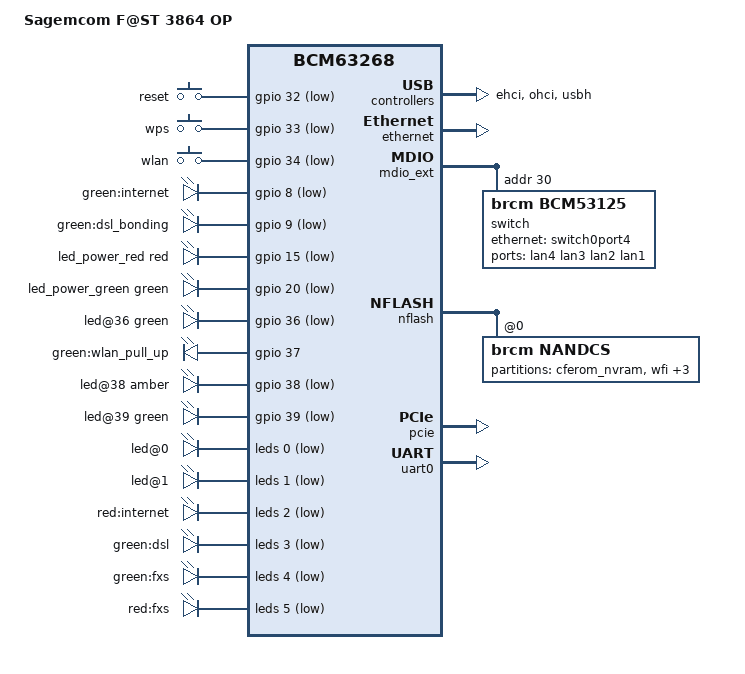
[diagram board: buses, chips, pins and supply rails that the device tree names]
// SPDX-License-Identifier: GPL-2.0-or-later

#include "bcm63268.dtsi"

/ {
	model = "Sagemcom F@ST 3864 OP";
	compatible = "sagem,fast-3864-op", "brcm,bcm63168", "brcm,bcm63268";

	aliases {
		led-boot = &led_power_green;
		led-failsafe = &led_power_red;
		led-running = &led_power_green;
		led-upgrade = &led_power_green;

		led-dsl = &led_dsl_green;
		led-internet = &led_internet_green;
		led-usb = &led_usb_green;
	};

	keys {
		compatible = "gpio-keys-polled";
		poll-interval = <100>;

		reset {
			label = "reset";
			gpios = <&gpio 32 GPIO_ACTIVE_LOW>;
			linux,code = <KEY_RESTART>;
			debounce-interval = <60>;
		};

		wps {
			label = "wps";
			gpios = <&gpio 33 GPIO_ACTIVE_LOW>;
			linux,code = <KEY_WPS_BUTTON>;
			debounce-interval = <60>;
		};

		wlan {
			label = "wlan";
			gpios = <&gpio 34 GPIO_ACTIVE_LOW>;
			linux,code = <KEY_WLAN>;
			debounce-interval = <60>;
		};
	};

	leds {
		compatible = "gpio-leds";

		led_internet_green: led@8 {
			label = "green:internet";
			gpios = <&gpio 8 GPIO_ACTIVE_LOW>;
		};

		led_usb_green: led@9 {
			label = "green:dsl_bonding";
			gpios = <&gpio 9 GPIO_ACTIVE_LOW>;
		};

		led_power_red: led@15 {
			function = LED_FUNCTION_POWER;
			color = <LED_COLOR_ID_RED>;
			gpios = <&gpio 15 GPIO_ACTIVE_LOW>;
		};

		led_power_green: led@20 {
			function = LED_FUNCTION_POWER;
			color = <LED_COLOR_ID_GREEN>;
			gpios = <&gpio 20 GPIO_ACTIVE_LOW>;
		};

		led@36 {
			function = LED_FUNCTION_WLAN;
			color = <LED_COLOR_ID_GREEN>;
			gpios = <&gpio 36 GPIO_ACTIVE_LOW>;
		};

		led@37 {
			label = "green:wlan_pull_up";
			default-state = "on";
			gpios = <&gpio 37 GPIO_ACTIVE_HIGH>;
		};

		led@38 {
			function = LED_FUNCTION_WAN;
			color = <LED_COLOR_ID_AMBER>;
			gpios = <&gpio 38 GPIO_ACTIVE_LOW>;
		};

		led@39 {
			function = LED_FUNCTION_WAN;
			color = <LED_COLOR_ID_GREEN>;
			gpios = <&gpio 39 GPIO_ACTIVE_LOW>;
		};
	};
};

&ehci {
	status = "okay";
};

&ethernet {
	status = "okay";

	nvmem-cells = <&macaddr_cferom_6a0>;
	nvmem-cell-names = "mac-address";
};

&leds {
	status = "okay";
	brcm,serial-leds;
	brcm,serial-dat-low;
	brcm,serial-shift-inv;
	brcm,serial-mux;

	pinctrl-names = "default";
	pinctrl-0 = <&pinctrl_serial_led>;

	led@0 {
		reg = <0>;
		active-low;
		function = LED_FUNCTION_WPS;
		color = <LED_COLOR_ID_GREEN>;
	};

	led@1 {
		reg = <1>;
		active-low;
		function = LED_FUNCTION_WPS;
		color = <LED_COLOR_ID_RED>;
	};

	led@2 {
		reg = <2>;
		active-low;
		label = "red:internet";
	};

	led_dsl_green: led@3 {
		reg = <3>;
		active-low;
		label = "green:dsl";
	};

	led@4 {
		reg = <4>;
		active-low;
		label = "green:fxs";
	};

	led@5 {
		reg = <5>;
		active-low;
		label = "red:fxs";
	};
};

&mdio_ext {
	switch@1e {
		compatible = "brcm,bcm53125";
		reg = <0x1e>;

		dsa,member = <1 0>;

		ports {
			#address-cells = <1>;
			#size-cells = <0>;

			port@1 {
				reg = <1>;
				label = "lan4";
			};

			port@2 {
				reg = <2>;
				label = "lan3";
			};

			port@3 {
				reg = <3>;
				label = "lan2";
			};

			port@4 {
				reg = <4>;
				label = "lan1";
			};

			port@8 {
				reg = <8>;

				phy-mode = "rgmii";
				ethernet = <&switch0port4>;

				fixed-link {
					speed = <1000>;
					full-duplex;
					asym-pause;
					pause;
				};
			};
		};
	};
};

&nflash {
	status = "okay";

	nandcs@0 {
		compatible = "brcm,nandcs";
		reg = <0>;
		nand-ecc-step-size = <512>;
		nand-ecc-strength = <15>;
		nand-on-flash-bbt;
		brcm,nand-oob-sector-size = <64>;

		partitions {
			compatible = "fixed-partitions";
			#address-cells = <1>;
			#size-cells = <1>;

			partition@0 {
				label = "cferom_nvram";
				reg = <0x00000000 0x00020000>;
				read-only;

				nvmem-layout {
					compatible = "fixed-layout";
					#address-cells = <1>;
					#size-cells = <1>;

					macaddr_cferom_6a0: macaddr@6a0 {
						reg = <0x6a0 0x6>;
					};
				};
			};

			partition@20000 {
				compatible = "brcm,wfi-split";
				label = "wfi";
				reg = <0x00020000 0x7ac0000>;
			};

			partition@7ae0000 {
				label = "stock_hidden1";
				reg = <0x07ae0000 0x0020000>;
				read-only;
			};

			partition@7b00000 {
				label = "stock_data";
				reg = <0x07b00000 0x0400000>;
				read-only;
			};

			partition@7f00000 {
				label = "stock_hidden2";
				reg = <0x07f00000 0x0100000>;
				read-only;
			};
		};
	};
};

&ohci {
	status = "okay";
};

&pcie {
	status = "okay";
};

&switch0 {
	dsa,member = <0 0>;

	ports {
		port@3 {
			reg = <3>;
			label = "wan";

			phy-handle = <&phy4>;
		};

		switch0port4: port@4 {
			reg = <4>;
			label = "extsw";

			phy-mode = "rgmii";

			fixed-link {
				speed = <1000>;
				full-duplex;
			};
		};
	};
};

&uart0 {
	status = "okay";
};

&usbh {
	status = "okay";
};
